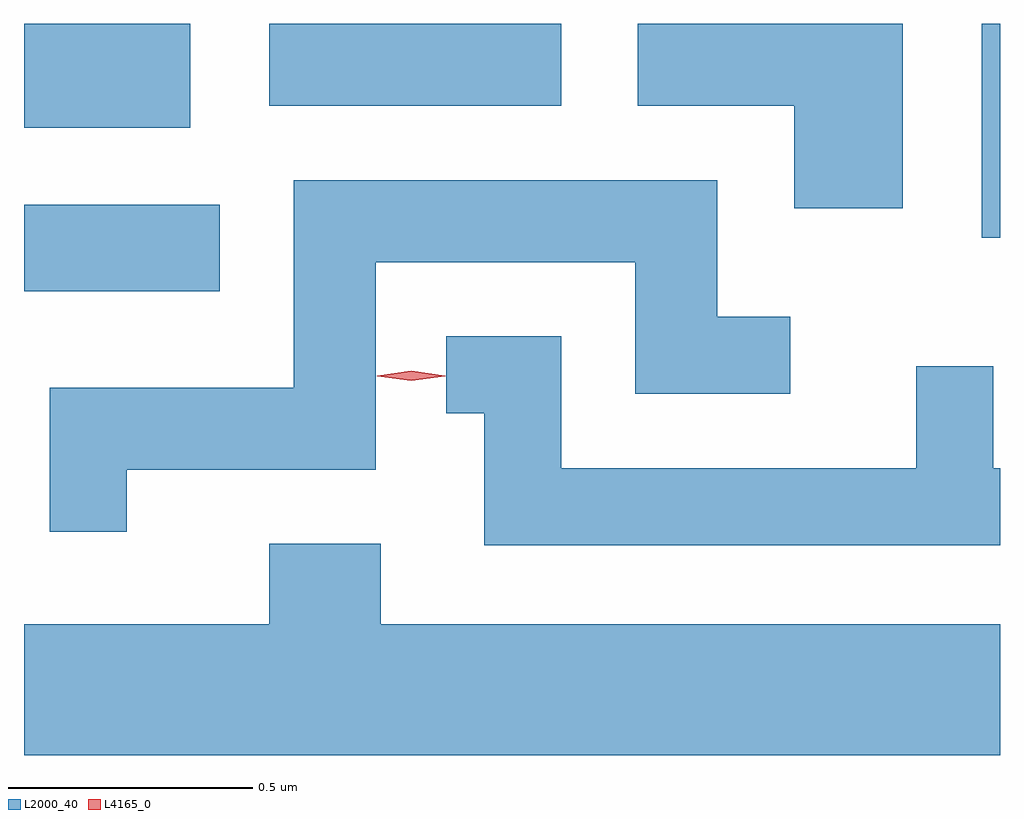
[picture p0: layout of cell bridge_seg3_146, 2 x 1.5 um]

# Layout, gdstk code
import gdstk
lib = gdstk.Library(unit=1e-6, precision=1e-09)
def R(c, l, rs):  # rectangles x0, y0, x1, y1
    for r in rs: c.add(gdstk.rectangle(r[:2], r[2:], *l))
def P(c, l, *ps):  # polygons
    for p in ps: c.add(gdstk.Polygon(p, *l))
L2000_40 = (2000, 40)
L4165_0 = (4165, 0)

bridge_seg3_146 = lib.new_cell('bridge_seg3_146')
R(bridge_seg3_146, L2000_40, [(761.608,1209.106,762.009,1209.284), (763.571,1209.216,763.608,1209.654), (761.608,1209.441,761.949,1209.654), (762.111,1209.486,762.709,1209.654)])
P(bridge_seg3_146, L2000_40, [(763.409,1209.654),(762.866,1209.654),(762.866,1209.486),(763.186,1209.486),(763.186,1209.276),(763.409,1209.276)],
  [(761.819,1208.741),(762.329,1208.741),(762.329,1209.166),(762.861,1209.166),(762.861,1208.896),(763.178,1208.896),(763.178,1209.054),(763.029,1209.054),(763.029,1209.334),(762.161,1209.334),(762.161,1208.909),(761.661,1208.909),(761.661,1208.613),(761.819,1208.613)],
  [(763.608,1208.744),(763.594,1208.744),(763.594,1208.953),(763.436,1208.953),(763.436,1208.744),(762.709,1208.744),(762.709,1209.014),(762.473,1209.014),(762.473,1208.856),(762.551,1208.856),(762.551,1208.586),(763.608,1208.586)],
  [(763.608,1208.424),(762.339,1208.424),(762.339,1208.589),(762.111,1208.589),(762.111,1208.424),(761.608,1208.424),(761.608,1208.156),(763.608,1208.156)])
P(bridge_seg3_146, L4165_0, [(762.402,1208.923),(762.332,1208.932),(762.332,1208.933),(762.332,1208.933),(762.402,1208.943),(762.471,1208.933),(762.471,1208.933),(762.471,1208.932)])

lib.write_gds('bridge_seg3_146.gds')
